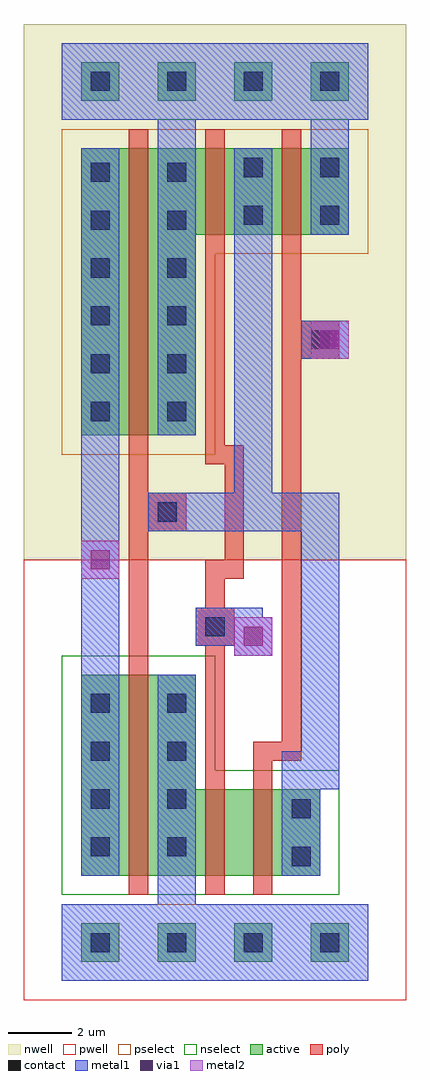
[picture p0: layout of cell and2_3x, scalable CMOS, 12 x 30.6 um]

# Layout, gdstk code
import gdstk
lib = gdstk.Library(unit=1e-6, precision=1e-09)
def R(c, l, rs):  # rectangles x0, y0, x1, y1
    for r in rs: c.add(gdstk.rectangle(r[:2], r[2:], *l))
def A(c, l, x, y, w, h, nx, ny, dx, dy):  # array of equal rectangles
    R(c, l, [(x+i*dx, y+j*dy, x+i*dx+w, y+j*dy+h) for i in range(nx) for j in range(ny)])
contact = (25, 0)
pwell = (41, 0)
nwell = (42, 0)
active = (43, 0)
pselect = (44, 0)
nselect = (45, 0)
poly = (46, 0)
metal1 = (49, 0)
via1 = (50, 0)
metal2 = (51, 0)

and2_3x = lib.new_cell('and2_3x')
A(and2_3x, contact, 0.3, -0.3, 0.6, 0.6, 4, 2, 2.4, 27)
A(and2_3x, contact, 0.3, 2.7, 0.6, 0.6, 1, 4, 0, 1.5)
A(and2_3x, contact, 2.7, 2.7, 0.6, 0.6, 1, 4, 0, 1.5)
A(and2_3x, contact, 0.3, 16.35, 0.6, 0.6, 1, 6, 0, 1.5)
A(and2_3x, contact, 2.7, 16.35, 0.6, 0.6, 1, 6, 0, 1.5)
R(and2_3x, contact, [(6.6,2.4,7.2,3), (6.6,3.9,7.2,4.5), (3.9,9.6,4.5,10.2), (2.4,13.2,3,13.8), (7.2,18.6,7.8,19.2), (5.1,22.5,5.7,23.1), (7.5,22.5,8.1,23.1), (5.1,24,5.7,24.6), (7.5,24,8.1,24.6)])
A(and2_3x, pwell, -0.9, -1.5, 3, 3, 4, 1, 2.4, 0)
R(and2_3x, pwell, [(-1.8,-1.8,10.2,12), (-1.8,0.3,3,10.2), (-1.2,0.3,4.8,10.2), (0.6,0.3,5.4,10.2), (1.2,0.3,7.2,6.6), (2.7,0.3,8.7,6.6), (4.5,0.3,9.3,6.6), (4.575,0.9,9.15,5.4), (2.325,1.5,7.575,6), (0.75,1.65,5.325,6.15), (0.675,4.35,5.25,8.85), (-1.65,4.65,2.925,9.15)])
A(and2_3x, nwell, -0.9, 25.5, 3, 3, 4, 1, 2.4, 0)
R(and2_3x, nwell, [(-1.8,12,10.2,28.8), (-1.8,14.1,3,26.7), (-1.2,14.1,4.8,26.7), (0.6,14.1,5.4,26.7), (-1.65,17.7,2.925,22.2), (0.675,17.7,5.25,22.2), (1.2,20.4,7.2,26.7), (3,20.4,7.8,26.7), (3.6,20.4,9.6,26.7), (5.4,20.4,10.2,26.7), (0.75,21.15,5.325,25.65), (3,21.3,7.575,25.8), (3,21.3,7.725,25.8), (5.475,21.6,10.05,26.1)])
A(and2_3x, active, 0, -0.6, 1.2, 1.2, 4, 2, 2.4, 27)
R(and2_3x, active, [(0,2.1,1.2,8.4), (0.6,2.1,3,8.4), (2.4,2.1,3.6,8.4), (3,2.1,5.4,4.8), (4.5,2.1,6.9,4.8), (6.3,2.1,7.5,4.8), (6.375,2.7,7.35,3.6), (4.125,3.3,5.775,4.2), (2.55,3.45,3.525,4.35), (2.475,6.15,3.45,7.05), (0.15,6.45,1.125,7.35), (0,15.9,1.2,24.9), (0.6,15.9,3,24.9), (2.4,15.9,3.6,24.9), (0.15,19.5,1.125,20.4), (2.475,19.5,3.45,20.4), (3,22.2,5.4,24.9), (4.8,22.2,6,24.9), (5.4,22.2,7.8,24.9), (7.2,22.2,8.4,24.9), (2.55,22.95,3.525,23.85), (4.8,23.1,5.775,24), (4.8,23.1,5.925,24), (7.275,23.4,8.25,24.3)])
A(and2_3x, pselect, -0.6, -1.2, 2.4, 2.4, 4, 1, 2.4, 0)
R(and2_3x, pselect, [(-0.6,15.3,1.8,25.5), (0,15.3,3.6,25.5), (1.8,15.3,4.2,25.5), (-0.45,18.9,1.725,21), (1.875,18.9,4.05,21), (2.4,21.6,6,25.5), (4.2,21.6,6.6,25.5), (4.8,21.6,8.4,25.5), (6.6,21.6,9,25.5), (1.95,22.35,4.125,24.45), (4.2,22.5,6.375,24.6), (4.2,22.5,6.525,24.6), (6.675,22.8,8.85,24.9)])
A(and2_3x, nselect, -0.6, 25.8, 2.4, 2.4, 4, 1, 2.4, 0)
R(and2_3x, nselect, [(-0.6,1.5,1.8,9), (0,1.5,3.6,9), (1.8,1.5,4.2,9), (2.4,1.5,6,5.4), (3.9,1.5,7.5,5.4), (5.7,1.5,8.1,5.4), (5.775,2.1,7.95,4.2), (3.525,2.7,6.375,4.8), (1.95,2.85,4.125,4.95), (1.875,5.55,4.05,7.65), (-0.45,5.85,1.725,7.95)])
R(and2_3x, poly, [(1.5,1.5,2.1,9), (3.9,1.5,4.5,5.4), (5.4,1.5,6,5.4), (3.9,5.1,4.5,10.35), (5.4,5.1,6,6.3), (5.4,5.7,6.9,6.3), (6.3,5.7,6.9,19.2), (1.5,8.7,2.1,13.8), (3.6,9.3,4.8,10.5), (3.9,9.75,4.5,10.35), (3.9,9.75,4.5,12), (3.9,11.4,5.1,12), (4.5,11.4,5.1,15.6), (2.1,12.9,3.3,14.1), (1.5,13.2,2.1,15.6), (1.5,13.2,3,13.8), (3.9,15,4.5,21.9), (3.9,15,5.1,15.6), (1.5,15.3,2.1,25.5), (6.9,18.3,8.1,19.5), (6.3,18.6,7.8,19.2), (6.3,18.6,6.9,21.9), (3.9,21.6,4.5,25.5), (6.3,21.6,6.9,25.5)])
A(and2_3x, metal1, -0.6, -1.2, 4.8, 2.4, 3, 1, 2.4, 0)
A(and2_3x, metal1, 0, -0.6, 1.2, 1.2, 4, 2, 2.4, 27)
R(and2_3x, metal1, [(-0.6,-1.2,1.8,1.2), (-0.6,-1.2,4.2,1.2), (2.4,-0.6,3.6,3.3), (0,2.1,1.2,8.4), (2.4,2.1,3.6,8.4), (6.3,2.1,7.5,4.8), (6.3,2.85,7.5,6), (6.3,4.8,7.5,6), (6.3,4.8,8.1,6), (6.9,4.8,8.1,14.1), (0,7.2,1.2,12.6), (4.8,9,6,10.2), (3.6,9.3,4.8,10.5), (3.6,9.3,5.7,10.5), (0,11.4,1.2,12.6), (0,11.4,1.2,17.1), (2.1,12.9,3.3,14.1), (2.1,12.9,6,14.1), (4.8,12.9,6,24.15), (4.8,12.9,8.1,14.1), (0,15.9,1.2,24.9), (2.4,15.9,3.6,24.9), (6.9,18.3,8.1,19.5), (6.9,18.3,8.1,19.5), (7.2,18.3,8.4,19.5), (4.8,22.2,6,24.9), (7.2,22.2,8.4,24.9), (2.4,23.7,3.6,27.6), (7.2,23.7,8.4,27.6), (-0.6,25.8,1.8,28.2), (-0.6,25.8,4.2,28.2), (1.8,25.8,9,28.2), (0,26.4,1.2,27.6), (4.8,26.4,8.4,27.6), (7.2,26.4,8.4,27.6)])
R(and2_3x, via1, [(5.1,9.3,5.7,9.9), (0.3,11.7,0.9,12.3), (7.5,18.6,8.1,19.2)])
R(and2_3x, metal2, [(4.8,9,6,10.2), (0,11.4,1.2,12.6), (7.2,18.3,8.4,19.5)])

lib.write_gds('and2_3x.gds')
